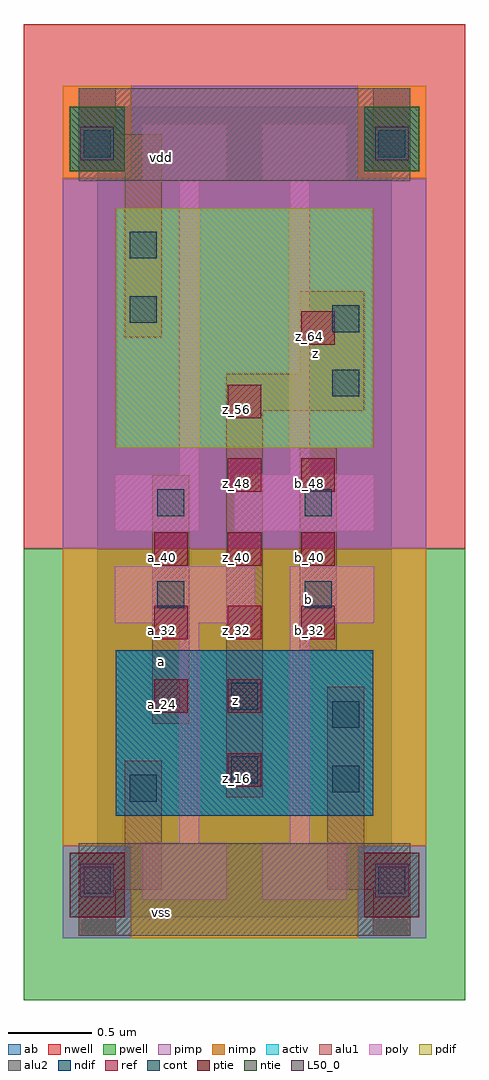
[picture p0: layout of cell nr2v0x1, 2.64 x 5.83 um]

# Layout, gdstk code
import gdstk
lib = gdstk.Library(unit=1e-6, precision=2.5e-09)
def R(c, l, rs):  # rectangles x0, y0, x1, y1
    for r in rs: c.add(gdstk.rectangle(r[:2], r[2:], *l))
def A(c, l, x, y, w, h, nx, ny, dx, dy):  # array of equal rectangles
    R(c, l, [(x+i*dx, y+j*dy, x+i*dx+w, y+j*dy+h) for i in range(nx) for j in range(ny)])
ndif = (3, 0)
pdif = (4, 0)
ntie = (5, 0)
ptie = (6, 0)
ref = (24, 0)
cont = (25, 0)
pwell = (41, 0)
nwell = (42, 0)
activ = (43, 0)
pimp = (44, 0)
nimp = (45, 0)
poly = (46, 0)
alu1 = (49, 0)
L50_0 = (50, 0)
alu2 = (51, 0)
ab = (63, 0)

nr2v0x1 = lib.new_cell('nr2v0x1')
R(nr2v0x1, ndif, [(0.11,0.605,1.65,1.595)])
R(nr2v0x1, pdif, [(0.11,2.805,1.65,4.235)])
R(nr2v0x1, ntie, [(-0.165,4.455,0.165,4.84), (1.595,4.455,1.925,4.84)])
R(nr2v0x1, ptie, [(-0.165,0,0.165,0.385), (1.595,0,1.925,0.385)])
A(nr2v0x1, ref, 0.34, 1.66, 0.2, 0.2, 3, 2, 0.44, 0.44)
R(nr2v0x1, ref, [(0.78,0.78,0.98,0.98), (0.34,1.22,0.54,1.42), (0.78,1.22,0.98,1.42), (0.78,2.54,0.98,2.74), (1.22,2.54,1.42,2.74), (0.78,2.98,0.98,3.18), (1.22,3.42,1.42,3.62)])
R(nr2v0x1, cont, [(-0.08,0.14,0.08,0.3), (1.68,0.14,1.84,0.3), (0.195,0.69,0.355,0.85), (1.405,0.745,1.565,0.905), (0.8,0.8,0.96,0.96), (1.405,1.13,1.565,1.29), (0.8,1.24,0.96,1.4), (0.36,1.845,0.52,2.005), (1.24,1.845,1.4,2.005), (0.36,2.395,0.52,2.555), (1.24,2.395,1.4,2.555), (1.405,3.11,1.565,3.27), (1.405,3.495,1.565,3.655), (0.195,3.55,0.355,3.71), (0.195,3.935,0.355,4.095), (-0.08,4.54,0.08,4.7), (1.68,4.54,1.84,4.7)])
R(nr2v0x1, pwell, [(-0.44,-0.495,2.2,2.2)])
R(nr2v0x1, nwell, [(-0.44,2.2,2.2,5.335)])
R(nr2v0x1, activ, [(-0.165,0,0.165,0.385), (1.595,0,1.925,0.385), (0.11,0.605,1.65,1.595), (0.11,2.805,1.65,4.235), (-0.165,4.455,0.165,4.84), (1.595,4.455,1.925,4.84)])
R(nr2v0x1, pimp, [(-0.205,-0.125,0.205,0.425), (1.555,-0.125,1.965,0.425), (-0.205,2.2,1.965,4.415), (0.205,4.415,1.555,4.965)])
R(nr2v0x1, nimp, [(0.205,-0.125,1.555,0.425), (-0.205,0.425,1.965,2.2), (-0.205,4.415,0.205,4.965), (1.555,4.415,1.965,4.965)])
R(nr2v0x1, poly, [(0.27,0.105,0.775,0.445), (0.985,0.105,1.49,0.445), (0.49,0.445,0.61,1.755), (1.15,0.445,1.27,1.755), (0.105,1.755,0.94,2.095), (1.15,1.755,1.655,2.095), (0.105,2.305,0.61,2.645), (0.82,2.305,1.655,2.645), (0.49,2.645,0.61,4.395), (1.15,2.645,1.27,4.395), (0.27,4.395,0.775,4.735), (0.985,4.395,1.49,4.735)])
R(nr2v0x1, alu1, [(-0.11,-0.11,0.11,0.165), (1.65,-0.11,1.87,0.165), (-0.11,0.165,0.385,0.385), (1.375,0.165,1.87,0.385), (0.165,0.385,0.385,0.935), (1.375,0.385,1.595,1.375), (0.77,0.715,0.99,3.025), (0.33,1.155,0.55,2.64), (1.21,1.595,1.43,2.805), (0.77,3.025,1.595,3.245), (1.21,3.245,1.595,3.74), (0.165,3.465,0.385,4.455), (-0.11,4.455,0.385,4.675), (1.65,4.455,1.87,4.95), (-0.11,4.675,0.11,4.95)])
R(nr2v0x1, L50_0, [(-0.1,0.12,0.1,0.32), (1.66,0.12,1.86,0.32), (-0.1,4.52,0.1,4.72), (1.66,4.52,1.86,4.72)])
R(nr2v0x1, alu2, [(-0.11,-0.11,1.87,0.44), (-0.11,4.4,1.87,4.95)])
R(nr2v0x1, ab, [(0,0,1.76,4.84)])
nr2v0x1.add(gdstk.Label('b', (1.265,1.8975), layer=49, texttype=0))
nr2v0x1.add(gdstk.Label('z', (0.825,1.2925), layer=49, texttype=0))
nr2v0x1.add(gdstk.Label('a', (0.385,1.525), layer=49, texttype=0))
nr2v0x1.add(gdstk.Label('z', (1.305,3.3675), layer=49, texttype=0))
nr2v0x1.add(gdstk.Label('vss', (0.385,0.0275), layer=51, texttype=0))
nr2v0x1.add(gdstk.Label('vdd', (0.385,4.5375), layer=51, texttype=0))
nr2v0x1.add(gdstk.Label('b_32', (1.27,1.71), layer=24, texttype=0))
nr2v0x1.add(gdstk.Label('z_16', (0.83,0.83), layer=24, texttype=0))
nr2v0x1.add(gdstk.Label('z_64', (1.27,3.47), layer=24, texttype=0))
nr2v0x1.add(gdstk.Label('b_40', (1.27,2.15), layer=24, texttype=0))
nr2v0x1.add(gdstk.Label('a_32', (0.39,1.71), layer=24, texttype=0))
nr2v0x1.add(gdstk.Label('z_24', (0.83,1.27), layer=24, texttype=0))
nr2v0x1.add(gdstk.Label('z_32', (0.83,1.71), layer=24, texttype=0))
nr2v0x1.add(gdstk.Label('z_56', (0.83,3.03), layer=24, texttype=0))
nr2v0x1.add(gdstk.Label('z_48', (0.83,2.59), layer=24, texttype=0))
nr2v0x1.add(gdstk.Label('z_40', (0.83,2.15), layer=24, texttype=0))
nr2v0x1.add(gdstk.Label('a_40', (0.39,2.15), layer=24, texttype=0))
nr2v0x1.add(gdstk.Label('a_24', (0.39,1.27), layer=24, texttype=0))
nr2v0x1.add(gdstk.Label('b_48', (1.27,2.59), layer=24, texttype=0))

lib.write_gds('nr2v0x1.gds')
